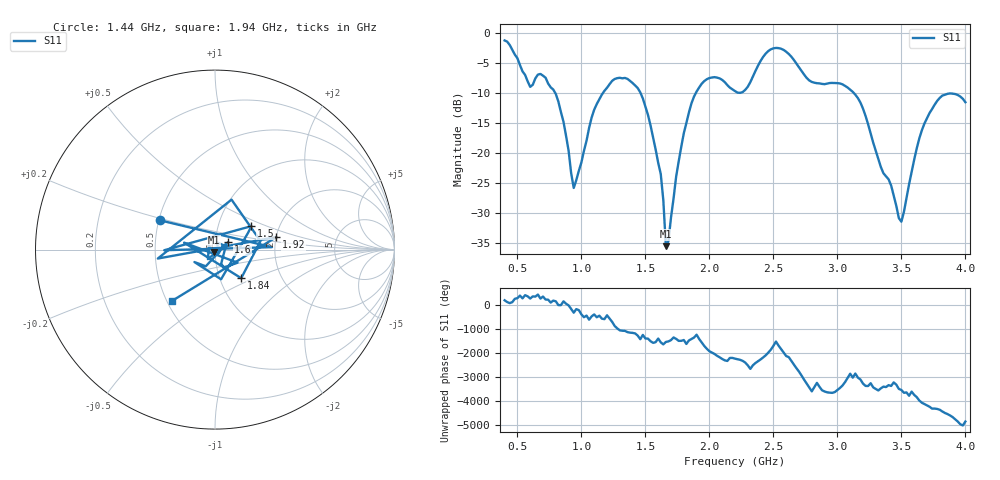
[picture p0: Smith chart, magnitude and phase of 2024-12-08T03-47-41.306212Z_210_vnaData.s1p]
!Created with skrf (http://scikit-rf.org).
# Hz S RI R 50.0
!freq ReS11 ImS11
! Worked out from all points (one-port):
!   181 points, 400 MHz to 4 GHz, reference 50 ohm
!   lowest |S11| = -35.6 dB at 1.66 GHz (marker M1), VSWR 1.03, Z = 49.4 - j1.55 ohm
!   |S11| at or under -10 dB: 793.9 MHz to 1.17 GHz (376.6 MHz wide, 38.3 % of centre); 1.461 GHz to 1.896 GHz (435 MHz wide, 25.9 % of centre); 3.125 GHz to end of sweep (the widest 3 of 4)
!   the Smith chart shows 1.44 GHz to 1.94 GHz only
!   S11 on the Smith chart (normalised r, x): 1.44 GHz: 0.51, +0.19; 1.5 GHz: 1.44, +0.40; 1.6 GHz: 1.15, +0.09; 1.84 GHz: 1.26, -0.42; 1.92 GHz: 2.01, +0.32; 1.94 GHz: 0.53, -0.35
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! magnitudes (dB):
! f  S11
! 400 MHz  -1.3
! 600 MHz  -9.0
! 720 MHz  -7.5
! 860 MHz  -14.9
! 940 MHz  -25.9
! 1.1 GHz  -12.8
! 1.3 GHz  -7.5
! 1.44 GHz  -9.2
! 1.5 GHz  -12.4
! 1.6 GHz  -21.7
! 1.64 GHz  -27.9
! 1.66 GHz  -35.6
! 1.76 GHz  -21.5
! 1.84 GHz  -13.3
! 1.92 GHz  -9.1
! 1.94 GHz  -8.5
! 2.2 GHz  -9.7
! 2.48 GHz  -2.8
! 2.66 GHz  -4.6
! 2.8 GHz  -8.2
! 3.1 GHz  -9.5
! 3.2 GHz  -12.7
! 3.48 GHz  -30.9
! 3.5 GHz  -31.5
! 3.56 GHz  -25.3
! 3.66 GHz  -16.3
! 3.78 GHz  -11.4
! 4 GHz  -11.6
